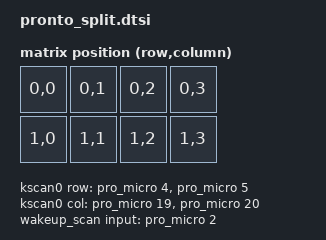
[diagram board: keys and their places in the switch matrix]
#include <dt-bindings/zmk/matrix_transform.h>
#include <dt-bindings/zmk/outputs.h>

/ {
    chosen {
        zmk,kscan = &kscan0;
        zmk,matrix_transform = &default_transform;
    };

    // Matrice principale du clavier
    kscan0: kscan0 {
        compatible = "zmk,kscan-gpio-matrix";
        diode-direction = "col2row";

        row-gpios
            = <&pro_micro 4 (GPIO_ACTIVE_HIGH | GPIO_PULL_DOWN)>
            , <&pro_micro 5 (GPIO_ACTIVE_HIGH | GPIO_PULL_DOWN)>
            ;

        col-gpios
            = <&pro_micro 19 GPIO_ACTIVE_HIGH>
            , <&pro_micro 20 GPIO_ACTIVE_HIGH>
            ;
    };

    default_transform: keymap_transform0 {
        compatible = "zmk,matrix-transform";
        columns = <4>;
        rows = <2>;
        map = <
        //  LKey 1 |LKey 2      RKey 1 |RKey 2
            RC(0,0) RC(0,1)     RC(0,2) RC(0,3)
        //  LKey 3 |LKey 4      RKey 3 |RKey 4
            RC(1,0) RC(1,1)     RC(1,2) RC(1,3)
        >;
    };


    wakeup_scan: wakeup_scan {
        compatible = "zmk,kscan-gpio-direct";
        wakeup-source;
        // On lui passe directement la broche ici, libérant le hardware de tout conflit
        input-gpios = <&pro_micro 2 (GPIO_ACTIVE_LOW | GPIO_PULL_UP)>;
    };

    // Liaison entre le Kscan direct (0,0) et le comportement de coupure
    side_band_behavior_triggers: side_band_behavior_triggers {
        compatible = "zmk,kscan-sideband-behaviors";
        kscan = <&wakeup_scan>;
        auto-enable;

        soft_off {
            column = <0>;
            row = <0>;
            bindings = <&hw_soft_off>;
        };
    };

    // Définition des comportements
    behaviors {
        hw_soft_off: hw_soft_off {
            compatible = "zmk,behavior-soft-off";
            #binding-cells = <0>;
            split-peripheral-off-on-press; 
            hold-time-ms = <2000>; // Exige 2 secondes d'appui pour s'éteindre (évite les missclicks)
        };
    };

    // Sources autorisées à réveiller le clavier
    soft_off_wakers {
        compatible = "zmk,soft-off-wakeup-sources";
        wakeup-sources = <&wakeup_scan>;
    };
};
